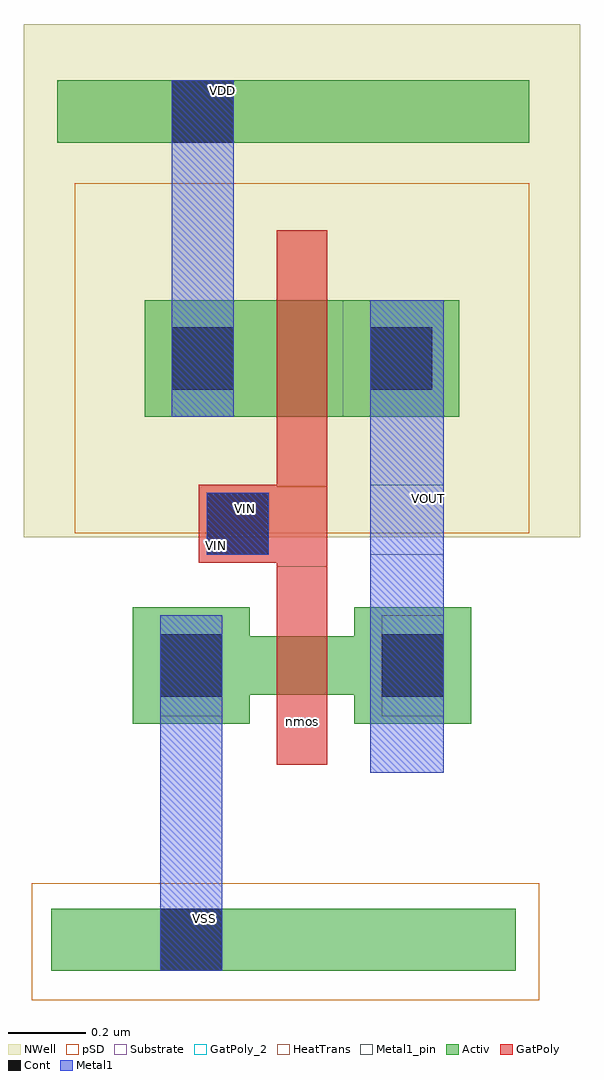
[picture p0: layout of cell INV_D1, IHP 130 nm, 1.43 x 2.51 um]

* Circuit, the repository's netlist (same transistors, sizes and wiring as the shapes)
* Extracted by KLayout with SG13G2 LVS runset on : 24/01/2026 20:08

.SUBCKT INV_D1 VIN
M$1 \$1 VIN \$3 \$1 sg13_lv_nmos L=0.13u W=0.15u AS=0.1005p AD=0.1005p PS=1.34u
+ PD=1.34u
M$2 \$2 VIN \$3 \$2 sg13_lv_pmos L=0.13u W=0.3u AS=0.102p AD=0.102p PS=1.28u
+ PD=1.28u
.ENDS INV_D1

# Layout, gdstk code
import gdstk
lib = gdstk.Library(unit=1e-6, precision=5e-09)
def R(c, l, rs):  # rectangles x0, y0, x1, y1
    for r in rs: c.add(gdstk.rectangle(r[:2], r[2:], *l))
Activ = (1, 0)
GatPoly = (5, 0)
GatPoly_2 = (5, 2)
Cont = (6, 0)
Metal1 = (8, 0)
Metal1_pin = (8, 2)
pSD = (14, 0)
NWell = (31, 0)
Substrate = (40, 0)
HeatTrans = (51, 0)

pmos_1 = lib.new_cell('pmos$1')
R(pmos_1, Activ, [(0,0,0.3,0.3), (0,0,0.81,0.3), (0.51,0,0.81,0.3)])
R(pmos_1, GatPoly, [(0.34,-0.18,0.47,0.48), (0.34,-0.18,0.47,0.48)])
R(pmos_1, Cont, [(0.07,0.07,0.23,0.23), (0.58,0.07,0.74,0.23)])
R(pmos_1, Metal1, [(0.07,0,0.23,0.3), (0.07,0,0.23,0.3), (0.58,0,0.74,0.3), (0.58,0,0.74,0.3)])
R(pmos_1, pSD, [(-0.18,-0.3,0.99,0.6)])
R(pmos_1, NWell, [(-0.31,-0.31,1.12,0.61)])
R(pmos_1, Substrate, [(0.51,0,0.81,0.3)])
R(pmos_1, HeatTrans, [(0.34,-0.18,0.47,0.48)])
pmos_1.add(gdstk.Label('pmos', (0.405,0.15), layer=63, texttype=0))
pmos_1.add(gdstk.Label('pmos', (0.405,0.15), layer=51, texttype=0))

nmos = lib.new_cell('nmos')
R(nmos, Activ, [(0,0,0.3,0.3), (0.57,0,0.87,0.3), (0,0.075,0.87,0.225)])
R(nmos, GatPoly, [(0.37,-0.105,0.5,0.405)])
R(nmos, GatPoly_2, [(0.37,-0.105,0.5,0.405)])
R(nmos, Cont, [(0.07,0.07,0.23,0.23), (0.64,0.07,0.8,0.23)])
R(nmos, Metal1, [(0.07,0.02,0.23,0.28), (0.64,0.02,0.8,0.28)])
R(nmos, Metal1_pin, [(0.07,0.02,0.23,0.28), (0.64,0.02,0.8,0.28)])
R(nmos, HeatTrans, [(0.37,-0.105,0.5,0.405)])
nmos.add(gdstk.Label('nmos', (0.435,0.15), layer=63, texttype=0))
nmos.add(gdstk.Label('nmos', (0.435,0.15), layer=51, texttype=0))

inv_d1 = lib.new_cell('INV_D1')
R(inv_d1, Activ, [(-0.655,-1.24,0.54,-1.08), (-0.64,0.89,0.575,1.05)])
R(inv_d1, GatPoly, [(-0.075,-0.2,0.055,0.005), (-0.275,-0.19,-0.075,0.01)])
R(inv_d1, Cont, [(-0.375,-1.24,-0.215,-1.08), (-0.255,-0.17,-0.095,-0.01), (-0.345,0.89,-0.185,1.05)])
R(inv_d1, Metal1, [(-0.375,-1.24,-0.215,-0.585), (0.165,-0.73,0.355,0.485), (-0.255,-0.17,-0.095,-0.01), (-0.345,0.485,-0.185,1.05)])
R(inv_d1, Metal1_pin, [(-0.375,-1.24,-0.215,-1.08), (-0.255,-0.17,-0.095,-0.01), (0.165,-0.17,0.355,0.01), (-0.345,0.89,-0.185,1.05)])
R(inv_d1, pSD, [(-0.705,-1.315,0.6,-1.015)])
R(inv_d1, NWell, [(-0.725,0.795,0.705,1.195)])
R(inv_d1, Substrate, [(0.095,0.185,0.395,0.485)])
inv_d1.add(gdstk.Reference(pmos_1, (-0.415,0.185)))
inv_d1.add(gdstk.Reference(nmos, (-0.445,-0.605)))
inv_d1.add(gdstk.Label('nmos', (-0.01,-0.6), layer=63, texttype=0))
inv_d1.add(gdstk.Label('VDD', (-0.215,1.025), layer=8, texttype=2))
inv_d1.add(gdstk.Label('VSS', (-0.26,-1.105), layer=8, texttype=2))
inv_d1.add(gdstk.Label('VIN', (-0.155,-0.05), layer=8, texttype=2))
inv_d1.add(gdstk.Label('VOUT', (0.315,-0.025), layer=8, texttype=2))
inv_d1.add(gdstk.Label('VIN', (-0.23,-0.145), layer=8, texttype=25))

lib.write_gds('INV_D1.gds')
